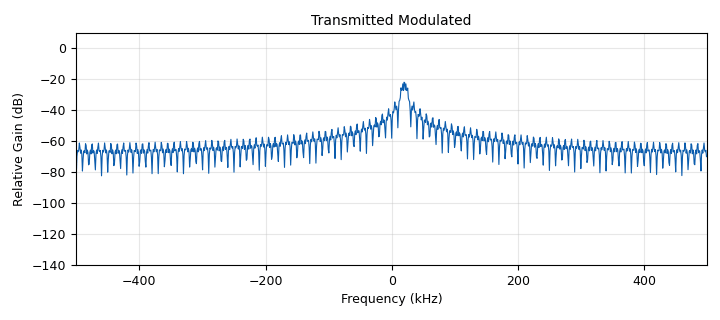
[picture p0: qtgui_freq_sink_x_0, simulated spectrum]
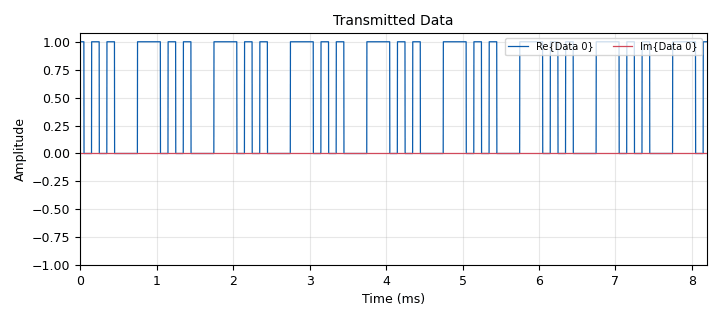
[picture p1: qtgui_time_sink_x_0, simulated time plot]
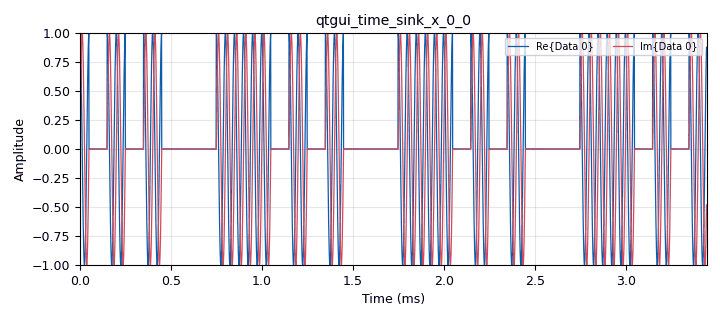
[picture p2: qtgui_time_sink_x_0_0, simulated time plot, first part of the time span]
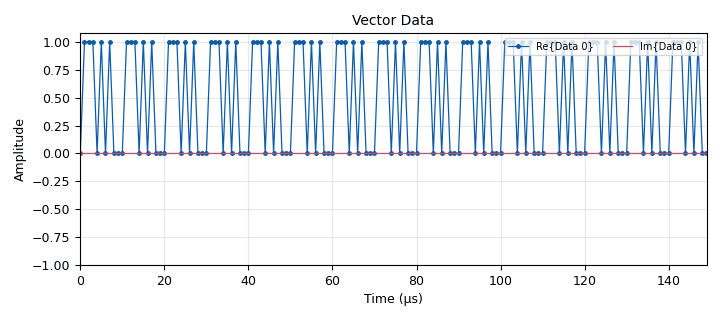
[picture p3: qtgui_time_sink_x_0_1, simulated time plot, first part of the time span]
options:
  parameters:
    author: Ubaid Rehman
    generate_options: qt_gui
    id: ASK
    output_language: python
    title: Not titled yet
  states: {}

blocks:
- name: center_freq
  id: variable
  parameters:
    value: 915e6
  states: {}
- name: rx_gain
  id: variable_qtgui_range
  parameters:
    start: '0'
    step: '1'
    stop: '70'
    value: '10'
  states: {}
- name: samp_rate
  id: variable
  parameters:
    value: 1e6
  states: {}
- name: signal_freq
  id: variable_qtgui_range
  parameters:
    start: '-100e3'
    step: '1'
    stop: 100e3
    value: 20e3
  states: {}
- name: sps
  id: variable
  parameters:
    value: '100'
  states: {}
- name: tx_gain
  id: variable_qtgui_range
  parameters:
    start: '0'
    step: '1'
    stop: '47'
    value: '10'
  states: {}
- name: analog_sig_source_x_0
  id: analog_sig_source_x
  parameters:
    amp: '1'
    freq: signal_freq
    offset: '0'
    phase: '0'
    samp_rate: samp_rate
    type: complex
    waveform: analog.GR_COS_WAVE
  states: {}
- name: blocks_complex_to_mag_0
  id: blocks_complex_to_mag
  parameters: {}
  states: {}
- name: blocks_keep_one_in_n_0
  id: blocks_keep_one_in_n
  parameters:
    n: sps
    type: float
  states: {}
- name: blocks_multiply_xx_0
  id: blocks_multiply_xx
  parameters:
    type: complex
  states: {}
- name: blocks_repeat_0
  id: blocks_repeat
  parameters:
    interp: sps
    type: complex
  states: {}
- name: blocks_threshold_ff_0
  id: blocks_threshold_ff
  parameters:
    high: '100e-3'
    init: '0'
    low: '100e-3'
  states: {}
- name: blocks_vector_source_x_0
  id: blocks_vector_source_x
  parameters:
    repeat: 'True'
    type: complex
    vector: (0,1,0,1,0,0,0,1,1,1)
  states: {}
- name: osmosdr_sink_0
  id: osmosdr_sink
  parameters:
    bb_gain0: '20'
    freq0: center_freq
    gain0: '20'
    if_gain0: tx_gain
    sample_rate: samp_rate
    sync: sync
    type: fc32
  states: {}
- name: qtgui_freq_sink_x_0
  id: qtgui_freq_sink_x
  parameters:
    bw: samp_rate
    fc: '0'
    fftsize: '1024'
    name: '"Transmitted Modulated"'
    type: complex
  states: {}
- name: qtgui_time_sink_x_0
  id: qtgui_time_sink_x
  parameters:
    name: '"Transmitted Data"'
    size: 1024*8
    srate: samp_rate
    type: complex
  states: {}
- name: qtgui_time_sink_x_0_0
  id: qtgui_time_sink_x
  parameters:
    size: 1024*8
    srate: samp_rate
    type: complex
  states: {}
- name: qtgui_time_sink_x_0_0_0
  id: qtgui_time_sink_x
  parameters:
    name: '"Receivd Raw"'
    size: 1024*8
    srate: samp_rate
    type: complex
  states: {}
- name: qtgui_time_sink_x_0_0_0_0
  id: qtgui_time_sink_x
  parameters:
    name: '"Received Demodulated"'
    size: '1024'
    srate: samp_rate
    type: float
  states: {}
- name: qtgui_time_sink_x_0_0_0_0_0
  id: qtgui_time_sink_x
  parameters:
    name: '"Received Demodulated"'
    size: '1024'
    srate: samp_rate
    type: float
  states: {}
- name: qtgui_time_sink_x_0_1
  id: qtgui_time_sink_x
  parameters:
    grid: 'True'
    marker1: '0'
    name: '"Vector Data"'
    size: '1024'
    srate: samp_rate
    type: complex
  states: {}
- name: rtlsdr_source_0
  id: rtlsdr_source
  parameters:
    bb_gain0: '20'
    freq0: center_freq
    gain0: rx_gain
    gain_mode0: 'False'
    if_gain0: '20'
    sample_rate: samp_rate
    sync: sync
    type: fc32
  states: {}

connections:
- [analog_sig_source_x_0, '0', blocks_multiply_xx_0, '1']
- [blocks_complex_to_mag_0, '0', blocks_threshold_ff_0, '0']
- [blocks_keep_one_in_n_0, '0', qtgui_time_sink_x_0_0_0_0, '0']
- [blocks_multiply_xx_0, '0', osmosdr_sink_0, '0']
- [blocks_multiply_xx_0, '0', qtgui_freq_sink_x_0, '0']
- [blocks_multiply_xx_0, '0', qtgui_time_sink_x_0_0, '0']
- [blocks_repeat_0, '0', blocks_multiply_xx_0, '0']
- [blocks_repeat_0, '0', qtgui_time_sink_x_0, '0']
- [blocks_threshold_ff_0, '0', blocks_keep_one_in_n_0, '0']
- [blocks_threshold_ff_0, '0', qtgui_time_sink_x_0_0_0_0_0, '0']
- [blocks_vector_source_x_0, '0', blocks_repeat_0, '0']
- [blocks_vector_source_x_0, '0', qtgui_time_sink_x_0_1, '0']
- [rtlsdr_source_0, '0', blocks_complex_to_mag_0, '0']
- [rtlsdr_source_0, '0', qtgui_time_sink_x_0_0_0, '0']

metadata:
  file_format: 1
  grc_version: 3.10.9.2
